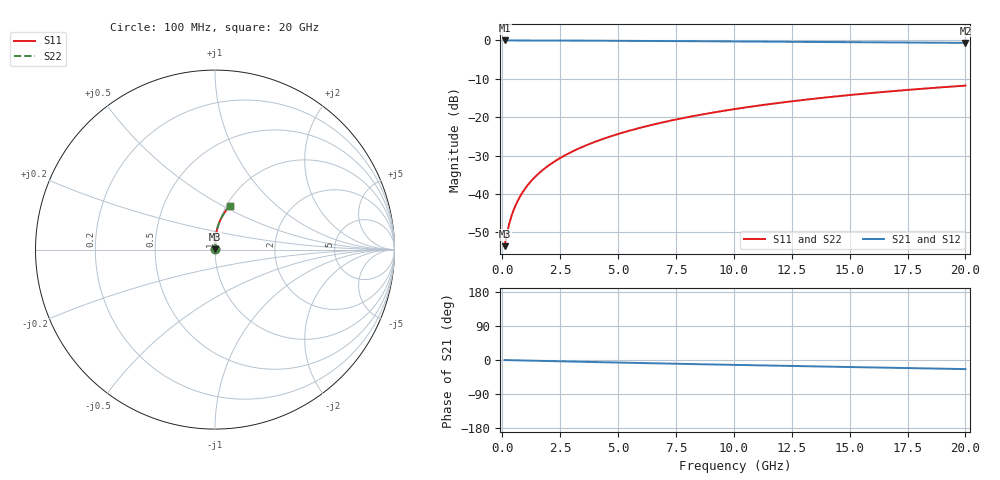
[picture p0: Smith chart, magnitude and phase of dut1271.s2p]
! Touchstone file exported from HFSS 2024.1.0
!  File:  C:/UserFiles/LocalFiles/RDL_TSV_Batchsim/temp_RDL_bottom_1271_1780246239.aedt
!  Generated:  12:53:19 AM Jun  1, 2026
!  Design:  RDL_bottom
!  Project:  temp_RDL_bottom_1271_1780246239
!  Setup:  Setup1
!  Solution:  Sweep
! Variables:
!  dtsv = 10.80580581um
!  hbump = 3um
!  htsv = 97.62um
!  ldown = 294.83um
!  lrdl = 100um
!  p = 40
!  p1 = 54.2um
!  rhole = 1um
!  t = 450um
!  tdown = 3.25um
!  trdl = 3.915915916um
!  wdown = 22.5um
!  wrdl = 20um
# GHz S MA R 50.000000
! Terminal data exported
! Port[1] = RDL1_T1
! Port[2] = RDL1_T2
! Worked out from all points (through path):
!   200 points, 100 MHz to 20 GHz, reference 50 ohm
!   highest |S21| = -0.01 dB at 100 MHz (marker M1); lowest = -0.6 dB at 20 GHz (marker M2)
!   group delay of S21, straight-line fit = 3.3 ps
!   lowest |S11| = -53.6 dB at 100 MHz (marker M3), VSWR 1.00, Z = 50.2 + j0.126 ohm
!   |S11| at or under -10 dB: start of sweep to end of sweep
!   |S22| runs from -53.6 to -11.8 dB; largest |S21 - S12| = 4e-15
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0.1  0.002088 37.1  0.9983 -0.1  0.9983 -0.1  0.002088 37.1
! Gamma 0 0 0 0
! Port Impedance 50 0 50 0
0.2  0.003029 55.2  0.9983 -0.3  0.9983 -0.3  0.003029 55.2
0.3  0.004096 64.0  0.9982 -0.4  0.9982 -0.4  0.004096 64.0
0.4  0.005189 69.0  0.9981 -0.6  0.9981 -0.6  0.005189 69.0
0.5  0.006292 72.4  0.998 -0.7  0.998 -0.7  0.006292 72.4
0.6  0.007401 74.8  0.9979 -0.8  0.9979 -0.8  0.007401 74.8
0.8  0.009638 78.1  0.9977 -1.1  0.9977 -1.1  0.009638 78.1
1.1  0.01304 81.1  0.9974 -1.5  0.9974 -1.5  0.01304 81.1
1.5  0.01764 83.4  0.9969 -2.1  0.9969 -2.1  0.01764 83.4
1.8  0.02113 84.5  0.9965 -2.5  0.9965 -2.5  0.02113 84.5
2.1  0.02465 85.2  0.996 -2.9  0.996 -2.9  0.02465 85.2
2.7  0.03179 86.2  0.9948 -3.7  0.9948 -3.7  0.03179 86.2
3.5  0.04151 86.9  0.9928 -4.8  0.9928 -4.8  0.04151 86.9
4.2  0.0502 87.1  0.9908 -5.7  0.9908 -5.7  0.0502 87.1
5  0.06035 87.0  0.9883 -6.8  0.9883 -6.8  0.06035 87.0
5.9  0.072 86.7  0.9852 -7.9  0.9852 -7.9  0.072 86.7
6.8  0.08387 86.2  0.9819 -9.0  0.9819 -9.0  0.08387 86.2
8.4  0.1053 84.9  0.9757 -11.0  0.9757 -11.0  0.1053 84.9
10.1  0.1284 83.1  0.969 -13.0  0.969 -13.0  0.1284 83.1
13.4  0.173 79.3  0.9558 -16.8  0.9558 -16.8  0.173 79.3
16.7  0.2163 75.3  0.9422 -20.4  0.9422 -20.4  0.2163 75.3
20  0.2576 71.4  0.9282 -24.0  0.9282 -24.0  0.2576 71.4
